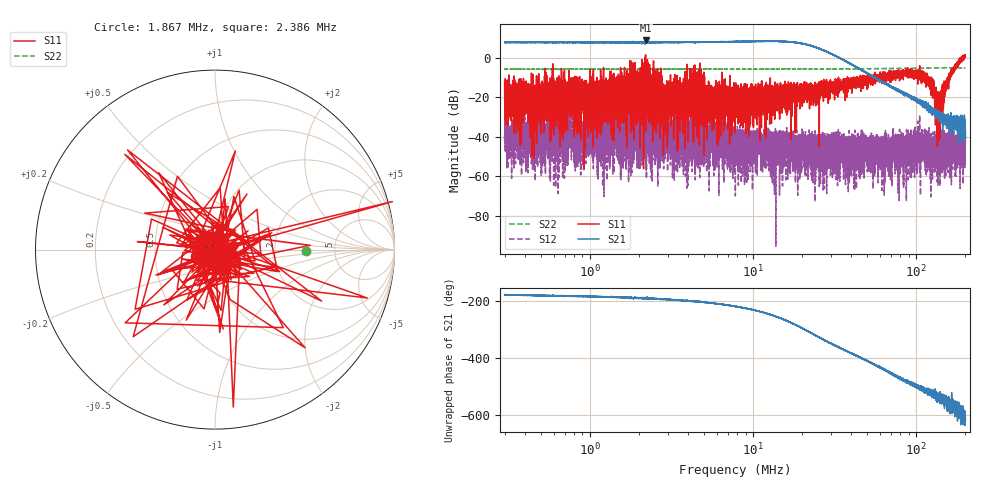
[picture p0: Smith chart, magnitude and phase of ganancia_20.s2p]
# Hz S DB R 50
! CMT, M5065, 19127446, 24.2.4/2
! Date: 11/1/2024 4:26:41 PM
! Data: Format (Calibration Info)
! Freq	S11:dB/Ang(F2)	S21:dB/Ang(F2)	S12:dB/Ang(F2)	S22:dB/Ang(F2)
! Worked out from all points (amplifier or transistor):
!   9000 points, 300 kHz to 200 MHz, reference 50 ohm
!   highest |S21| = 8.6 dB at 2.193 MHz (marker M1)
!   |S21| within 3 dB of that: start of sweep to 23.12 MHz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
!   unconditionally stable (mu >= 1): start of sweep to 2.181 MHz; 2.194 MHz to 189.3 MHz; 190.5 MHz to 192.8 MHz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
!   at 886.8 kHz: K = 8.90, MAG = 8.9 dB, |S12| = -35.2 dB
!   at 7.749 MHz: K = 17.02, MAG = 9.4 dB, |S12| = -41.3 dB
!   at 200 MHz: K = -524.20, MSG = 2.8 dB, |S12| = -42.6 dB
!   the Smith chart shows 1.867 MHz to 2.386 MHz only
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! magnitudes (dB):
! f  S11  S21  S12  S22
! 300 kHz  -12.5  7.8  -39.2  -5.9
! 317.9 kHz  -18.4  7.7  -35.2  -5.9
! 413.8 kHz  -19.5  7.6  -37.9  -5.9
! 456.2 kHz  -16.9  7.7  -43.3  -5.9
! 491.8 kHz  -20.3  7.7  -48.2  -5.9
! 696.1 kHz  -19.8  7.7  -31.4  -5.8
! 743.5 kHz  -19.1  7.7  -28.6  -6.0
! 886.8 kHz  -20.8  7.6  -35.2  -5.9
! 2.193 MHz  1.3  8.6  -45.8  -5.8
! 2.621 MHz  -20.1  7.6  -43.7  -5.9
! 4.761 MHz  -20.8  7.8  -52.8  -5.9
! 7.152 MHz  -25.1  8.0  -48.9  -5.9
! 7.749 MHz  -19.2  8.0  -41.3  -5.9
! 9.357 MHz  -16.8  8.2  -37.8  -5.9
! 10.58 MHz  -17.8  8.2  -47.8  -5.8
! 22.91 MHz  -14.1  5.9  -42.0  -5.8
! 67.71 MHz  -8.5  -13.8  -60.1  -5.6
! 113.4 MHz  -9.7  -24.1  -44.8  -5.4
! 125.5 MHz  -15.9  -26.2  -48.9  -5.3
! 136.9 MHz  -28.1  -30.7  -45.7  -5.2
! 163.2 MHz  -9.5  -30.3  -44.9  -5.2
! 200 MHz  0.6  -37.0  -42.6  -5.3
